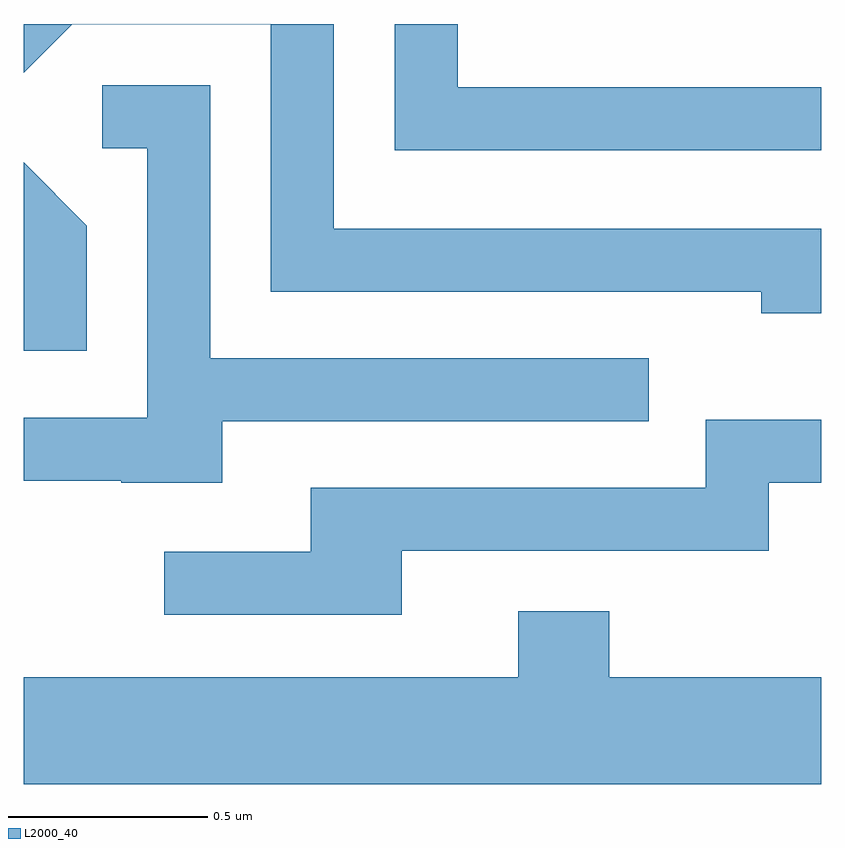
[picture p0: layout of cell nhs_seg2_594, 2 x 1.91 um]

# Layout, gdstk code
import gdstk
lib = gdstk.Library(unit=1e-6, precision=1e-09)
def P(c, l, *ps):  # polygons
    for p in ps: c.add(gdstk.Polygon(p, *l))
L2000_40 = (2000, 40)

nhs_seg2_594 = lib.new_cell('nhs_seg2_594')
P(nhs_seg2_594, L2000_40, [(191.611,1025.644),(190.699,1025.644),(190.699,1025.802),(190.541,1025.802),(190.541,1025.486),(191.611,1025.486)],
  [(191.611,1025.289),(190.389,1025.289),(190.389,1025.802),(189.611,1025.802),(189.611,1025.68),(189.732,1025.801),(190.231,1025.801),(190.231,1025.131),(191.461,1025.131),(191.461,1025.076),(191.611,1025.076)],
  [(190.109,1024.806),(191.178,1024.806),(191.178,1024.964),(190.079,1024.964),(190.079,1025.649),(189.808,1025.649),(189.808,1025.491),(189.921,1025.491),(189.921,1024.814),(189.611,1024.814),(189.611,1024.656),(189.855,1024.656),(189.855,1024.651),(190.109,1024.651)],
  [(189.769,1025.296),(189.611,1025.455),(189.611,1024.983),(189.769,1024.983)],
  [(190.559,1024.481),(191.479,1024.481),(191.479,1024.651),(191.611,1024.651),(191.611,1024.809),(191.321,1024.809),(191.321,1024.639),(190.331,1024.639),(190.331,1024.479),(189.963,1024.479),(189.963,1024.321),(190.559,1024.321)],
  [(191.611,1024.164),(191.079,1024.164),(191.079,1024.329),(190.851,1024.329),(190.851,1024.164),(189.611,1024.164),(189.611,1023.896),(191.611,1023.896)])

lib.write_gds('nhs_seg2_594.gds')
